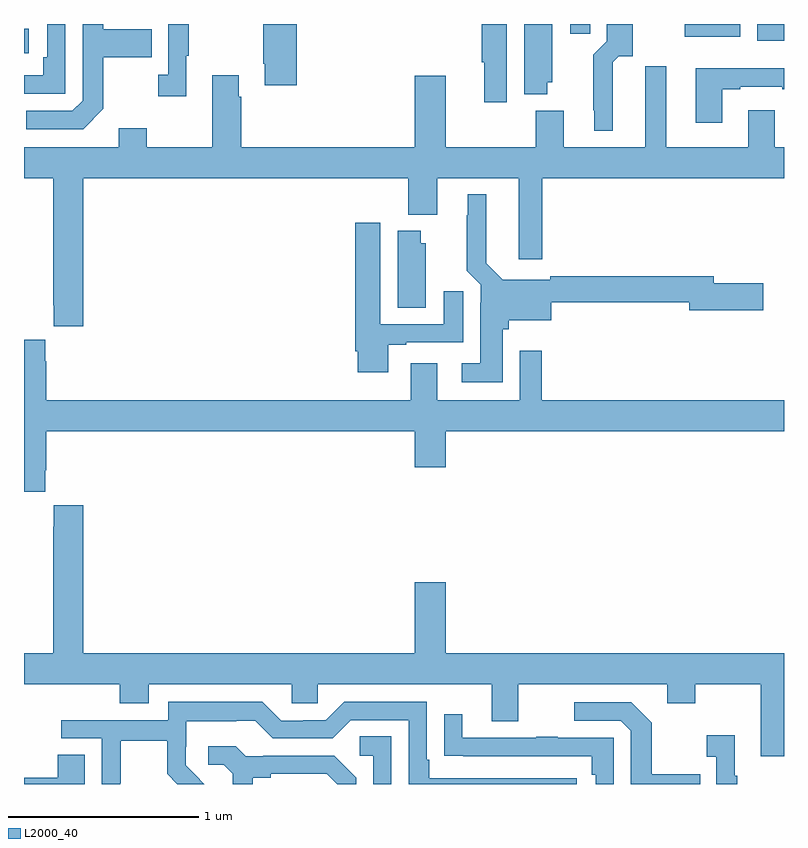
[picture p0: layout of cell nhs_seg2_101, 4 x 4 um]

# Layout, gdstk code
import gdstk
lib = gdstk.Library(unit=1e-6, precision=1e-09)
def R(c, l, rs):  # rectangles x0, y0, x1, y1
    for r in rs: c.add(gdstk.rectangle(r[:2], r[2:], *l))
def P(c, l, *ps):  # polygons
    for p in ps: c.add(gdstk.Polygon(p, *l))
L2000_40 = (2000, 40)

nhs_seg2_101 = lib.new_cell('nhs_seg2_101')
R(nhs_seg2_101, L2000_40, [(115,629.646,115.024,629.776), (118.859,629.712,119,629.8), (118.478,629.732,118.771,629.8), (117.875,629.748,117.979,629.8)])
P(nhs_seg2_101, L2000_40, [(115.218,629.8),(115.122,629.8),(115.122,629.626),(115.102,629.626),(115.102,629.529),(115,629.529),(115,629.433),(115.218,629.433)],
  [(116.435,629.8),(116.26,629.8),(116.26,629.59),(116.267,629.59),(116.267,629.478),(116.435,629.478)],
  [(115.417,629.353),(115.417,629.626),(115.673,629.626),(115.673,629.773),(115.417,629.773),(115.417,629.8),(115.308,629.8),(115.308,629.397),(115.254,629.343),(115.011,629.343),(115.011,629.247),(115.311,629.247)],
  [(115.855,629.633),(115.867,629.633),(115.867,629.8),(115.758,629.8),(115.758,629.534),(115.707,629.534),(115.707,629.421),(115.855,629.421)],
  [(117.754,629.493),(117.781,629.493),(117.781,629.8),(117.632,629.8),(117.632,629.429),(117.754,629.429)],
  [(118.099,629.6),(118.129,629.631),(118.204,629.631),(118.204,629.8),(118.067,629.8),(118.067,629.708),(117.997,629.638),(117.997,629.347),(118.001,629.347),(118.001,629.237),(118.099,629.237)],
  [(117.541,629.8),(117.41,629.8),(117.41,629.6),(117.422,629.6),(117.422,629.388),(117.541,629.388)],
  [(115.313,628.988),(117.023,628.988),(117.023,628.796),(117.175,628.796),(117.175,628.988),(117.605,628.988),(117.605,628.563),(117.728,628.563),(117.728,628.988),(119,628.988),(119,629.152),(118.951,629.152),(118.951,629.347),(118.811,629.347),(118.811,629.152),(118.381,629.152),(118.381,629.578),(118.271,629.578),(118.271,629.152),(117.841,629.152),(117.841,629.344),(117.694,629.344),(117.694,629.152),(117.22,629.152),(117.22,629.527),(117.056,629.527),(117.056,629.152),(116.144,629.152),(116.144,629.417),(116.131,629.417),(116.131,629.53),(115.991,629.53),(115.991,629.152),(115.647,629.152),(115.647,629.251),(115.499,629.251),(115.499,629.152),(115,629.152),(115,628.988),(115.153,628.988),(115.153,628.321),(115.157,628.321),(115.157,628.209),(115.313,628.209)],
  [(118.675,629.457),(118.771,629.457),(118.771,629.469),(118.991,629.469),(118.991,629.457),(119,629.457),(119,629.566),(118.535,629.566),(118.535,629.28),(118.675,629.28)],
  [(117.52,628.194),(117.551,628.194),(117.551,628.241),(117.775,628.241),(117.775,628.336),(118.502,628.336),(118.502,628.294),(118.891,628.294),(118.891,628.436),(118.63,628.436),(118.63,628.472),(117.771,628.472),(117.771,628.453),(117.519,628.453),(117.433,628.54),(117.433,628.903),(117.335,628.903),(117.335,628.793),(117.331,628.793),(117.331,628.502),(117.405,628.428),(117.405,628.334),(117.401,628.334),(117.401,628.015),(117.303,628.015),(117.303,627.914),(117.52,627.914)],
  [(116.917,628.113),(117.013,628.113),(117.013,628.125),(117.313,628.125),(117.313,628.393),(117.209,628.393),(117.209,628.221),(116.875,628.221),(116.875,628.753),(116.744,628.753),(116.744,628.078),(116.756,628.078),(116.756,627.966),(116.917,627.966)],
  [(117.115,628.647),(117.088,628.647),(117.088,628.711),(116.966,628.711),(116.966,628.306),(117.115,628.306)],
  [(115.111,627.451),(115.118,627.451),(115.118,627.656),(117.056,627.656),(117.056,627.468),(117.22,627.468),(117.22,627.656),(119,627.656),(119,627.82),(117.725,627.82),(117.725,628.081),(117.609,628.081),(117.609,627.82),(117.175,627.82),(117.175,628.015),(117.035,628.015),(117.035,627.82),(115.118,627.82),(115.118,628.025),(115.111,628.025),(115.111,628.138),(115,628.138),(115,627.339),(115.111,627.339)],
  [(119,626.488),(117.22,626.488),(117.22,626.863),(117.056,626.863),(117.056,626.488),(115.313,626.488),(115.313,627.268),(115.157,627.268),(115.157,627.155),(115.153,627.155),(115.153,626.488),(115,626.488),(115,626.324),(115.505,626.324),(115.505,626.225),(115.657,626.225),(115.657,626.324),(116.409,626.324),(116.409,626.226),(116.547,626.226),(116.547,626.324),(117.461,626.324),(117.461,626.13),(117.601,626.13),(117.601,626.324),(118.385,626.324),(118.385,626.225),(118.533,626.225),(118.533,626.324),(118.877,626.324),(118.877,625.947),(119,625.947)],
  [(115.506,625.804),(115.509,625.804),(115.509,626.028),(115.753,626.028),(115.753,625.853),(115.806,625.8),(115.948,625.8),(115.925,625.823),(115.926,625.824),(115.852,625.898),(115.852,625.995),(115.854,625.995),(115.854,626.129),(116.117,626.129),(116.117,626.133),(116.217,626.133),(116.31,626.04),(116.625,626.04),(116.721,626.136),(117.024,626.136),(117.024,625.8),(117.91,625.8),(117.91,625.83),(117.133,625.83),(117.133,625.927),(117.12,625.927),(117.12,626.232),(116.685,626.232),(116.589,626.136),(116.471,626.136),(116.471,626.133),(116.355,626.133),(116.255,626.233),(115.758,626.233),(115.758,626.136),(115.197,626.136),(115.197,626.04),(115.41,626.04),(115.41,625.8),(115.506,625.8)],
  [(118.559,625.851),(118.303,625.851),(118.303,626.123),(118.197,626.229),(117.897,626.229),(117.897,626.133),(118.14,626.133),(118.194,626.079),(118.194,625.8),(118.559,625.8)],
  [(118.104,626.043),(117.809,626.043),(117.809,626.048),(117.697,626.048),(117.697,626.043),(117.307,626.043),(117.307,626.167),(117.211,626.167),(117.211,625.948),(117.313,625.948),(117.313,625.947),(117.988,625.947),(117.988,625.85),(118.008,625.85),(118.008,625.8),(118.104,625.8)],
  [(118.753,625.843),(118.741,625.843),(118.741,626.056),(118.593,626.056),(118.593,625.943),(118.644,625.943),(118.644,625.8),(118.753,625.8)],
  [(116.934,626.051),(116.766,626.051),(116.766,625.95),(116.838,625.95),(116.838,625.8),(116.934,625.8)],
  [(116.203,625.832),(116.299,625.832),(116.299,625.854),(116.594,625.854),(116.648,625.8),(116.748,625.8),(116.748,625.834),(116.632,625.95),(116.26,625.95),(116.26,625.947),(116.166,625.947),(116.114,625.999),(115.971,625.999),(115.971,625.902),(116.052,625.902),(116.099,625.855),(116.099,625.8),(116.203,625.8)],
  [(115.321,625.955),(115.178,625.955),(115.178,625.832),(115,625.832),(115,625.8),(115.321,625.8)])

lib.write_gds('nhs_seg2_101.gds')
